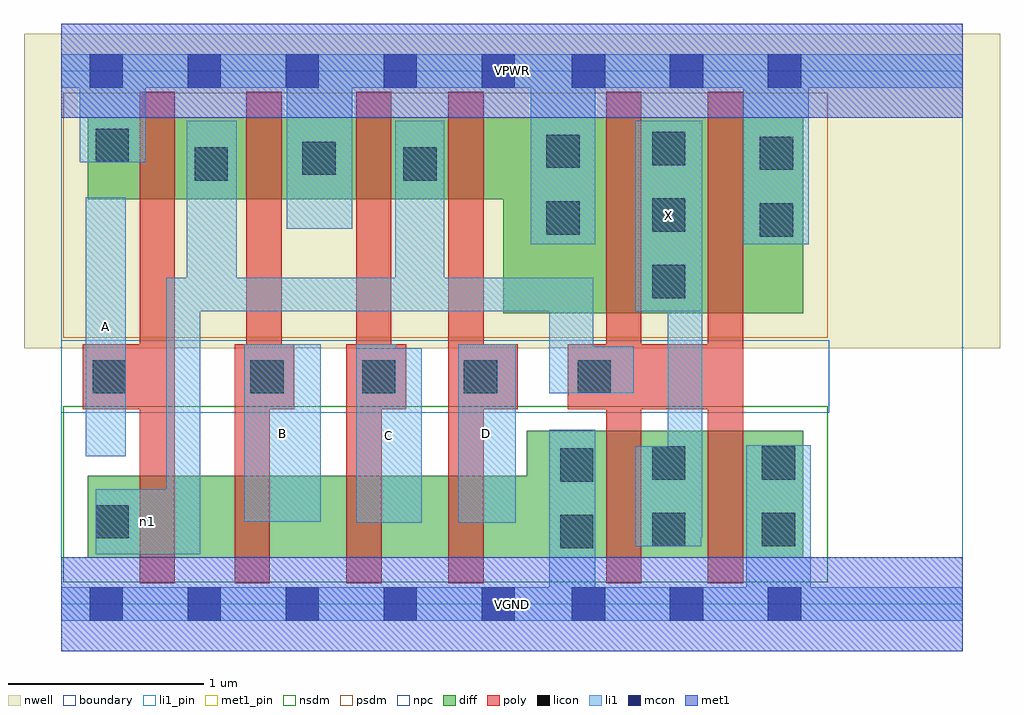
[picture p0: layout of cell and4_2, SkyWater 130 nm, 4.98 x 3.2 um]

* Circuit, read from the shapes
.subckt and4_2 A B C D VGND VPWR X n1
XM1 n2 A n1 VSUBS sky130_fd_pr__nfet_01v8 w=0.42 l=0.18
XM2 n3 B n2 VSUBS sky130_fd_pr__nfet_01v8 w=0.42 l=0.18
XM3 n4 C n3 VSUBS sky130_fd_pr__nfet_01v8 w=0.42 l=0.18
XM4 VGND D n4 VSUBS sky130_fd_pr__nfet_01v8 w=0.42 l=0.18
XM5 X n1 VGND VSUBS sky130_fd_pr__nfet_01v8 w=0.65 l=0.18 m=2
XM6 n1 A VPWR n5 sky130_fd_pr__pfet_01v8 w=0.42 l=0.18
XM7 VPWR B n1 n5 sky130_fd_pr__pfet_01v8 w=0.42 l=0.18
XM8 n1 C VPWR n5 sky130_fd_pr__pfet_01v8 w=0.42 l=0.18
XM9 VPWR D n1 n5 sky130_fd_pr__pfet_01v8 w=0.42 l=0.18
XM10 X n1 VPWR n5 sky130_fd_pr__pfet_01v8 w=1 l=0.18 m=2
.ends

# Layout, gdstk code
import gdstk
lib = gdstk.Library(unit=1e-6, precision=1e-09)
def R(c, l, rs):  # rectangles x0, y0, x1, y1
    for r in rs: c.add(gdstk.rectangle(r[:2], r[2:], *l))
def A(c, l, x, y, w, h, nx, ny, dx, dy):  # array of equal rectangles
    R(c, l, [(x+i*dx, y+j*dy, x+i*dx+w, y+j*dy+h) for i in range(nx) for j in range(ny)])
nwell = (64, 20)
diff = (65, 20)
poly = (66, 20)
licon = (66, 44)
li1_pin = (67, 16)
li1 = (67, 20)
mcon = (67, 44)
met1_pin = (68, 16)
met1 = (68, 20)
nsdm = (93, 44)
psdm = (94, 20)
npc = (95, 20)
boundary = (235, 4)

and4_2 = lib.new_cell('and4_2')
R(and4_2, nwell, [(-0.19,1.305,4.79,2.91), (0,1.305,4.6,2.91)])
R(and4_2, diff, [(0.135,0.235,3.785,0.655), (2.375,0.235,3.785,0.885), (2.255,1.485,3.785,2.485), (0.135,2.065,3.785,2.485)])
R(and4_2, poly, [(0.4,0.105,0.58,2.615), (0.885,0.105,1.065,1.325), (1.455,0.105,1.635,1.325), (1.975,0.105,2.155,2.615), (2.78,0.105,2.96,2.615), (3.3,0.105,3.48,2.615), (0.11,0.995,0.58,1.325), (0.885,0.995,1.19,1.325), (0.945,0.995,1.125,2.615), (1.455,0.995,1.76,1.325), (1.505,0.995,1.685,2.615), (1.975,0.995,2.33,1.325), (2.585,0.995,3.48,1.325)])
A(and4_2, licon, 3.015, 1.56, 0.17, 0.17, 1, 3, 0, 0.34)
R(and4_2, licon, [(2.545,0.285,2.715,0.455), (3.015,0.295,3.185,0.465), (3.575,0.295,3.745,0.465), (0.175,0.335,0.345,0.505), (2.545,0.625,2.715,0.795), (3.015,0.635,3.185,0.805), (3.575,0.635,3.745,0.805), (0.16,1.075,0.33,1.245), (0.965,1.075,1.135,1.245), (1.535,1.075,1.705,1.245), (2.055,1.075,2.225,1.245), (2.635,1.075,2.805,1.245), (3.565,1.875,3.735,2.045), (2.475,1.885,2.645,2.055), (0.68,2.16,0.85,2.33), (1.745,2.16,1.915,2.33), (1.23,2.19,1.4,2.36), (3.565,2.215,3.735,2.385), (2.475,2.225,2.645,2.395), (0.175,2.255,0.345,2.425)])
R(and4_2, li1_pin, [(1.505,0.415,1.84,1.305), (2.025,0.415,2.32,1.325), (0.935,0.42,1.325,1.325), (0.125,0.755,0.33,2.075), (2.93,1.495,3.27,2.465)])
R(and4_2, li1, [(0,-0.085,4.6,0.085), (2.49,-0.085,2.725,0.89), (3.495,-0.085,3.825,0.81), (0.175,0.255,0.71,0.585), (0.535,0.255,0.71,1.665), (2.93,0.295,3.265,0.805), (3.095,0.34,3.27,2.465), (1.505,0.415,1.84,1.305), (1.505,0.415,1.71,1.325), (2.025,0.415,2.32,1.325), (0.935,0.42,1.325,1.325), (0.125,0.755,0.33,2.075), (2.49,1.075,2.92,1.315), (2.49,1.075,2.715,1.665), (0.535,1.495,2.715,1.665), (0.64,1.495,0.895,2.465), (1.705,1.495,1.955,2.465), (2.93,1.495,3.27,2.465), (2.395,1.835,2.725,2.805), (3.48,1.835,3.815,2.805), (1.15,1.915,1.485,2.805), (0.095,2.255,0.43,2.805), (0,2.635,4.6,2.805)])
A(and4_2, mcon, 0.145, -0.085, 0.17, 0.17, 5, 2, 0.5, 2.72)
A(and4_2, mcon, 2.605, -0.085, 0.17, 0.17, 3, 2, 0.5, 2.72)
R(and4_2, met1_pin, [(0,-0.24,4.6,0.24), (0,2.48,4.6,2.96)])
R(and4_2, met1, [(0,-0.24,4.6,0.24), (0,2.48,4.6,2.96)])
R(and4_2, nsdm, [(0.01,0.11,3.91,1.01)])
R(and4_2, psdm, [(0.01,1.36,3.91,2.61)])
R(and4_2, npc, [(0,0.975,3.92,1.345)])
R(and4_2, boundary, [(0,0,4.6,2.72)])
and4_2.add(gdstk.Label('A', (0.227,1.415), layer=67, texttype=5))
and4_2.add(gdstk.Label('B', (1.13,0.872), layer=67, texttype=5))
and4_2.add(gdstk.Label('C', (1.672,0.86), layer=67, texttype=5))
and4_2.add(gdstk.Label('D', (2.172,0.87), layer=67, texttype=5))
and4_2.add(gdstk.Label('X', (3.1,1.98), layer=67, texttype=5))
and4_2.add(gdstk.Label('n1', (0.442,0.42), layer=67, texttype=5))
and4_2.add(gdstk.Label('VPWR', (2.3,2.72), layer=68, texttype=5))
and4_2.add(gdstk.Label('VGND', (2.3,0), layer=68, texttype=5))
and4_2.add(gdstk.Label('A', (0.227,1.415), layer=67, texttype=16))
and4_2.add(gdstk.Label('B', (1.13,0.872), layer=67, texttype=16))
and4_2.add(gdstk.Label('C', (1.672,0.86), layer=67, texttype=16))
and4_2.add(gdstk.Label('D', (2.172,0.87), layer=67, texttype=16))
and4_2.add(gdstk.Label('X', (3.1,1.98), layer=67, texttype=16))
and4_2.add(gdstk.Label('VPWR', (2.3,2.72), layer=68, texttype=16))
and4_2.add(gdstk.Label('VGND', (2.3,0), layer=68, texttype=16))

lib.write_gds('and4_2.gds')
